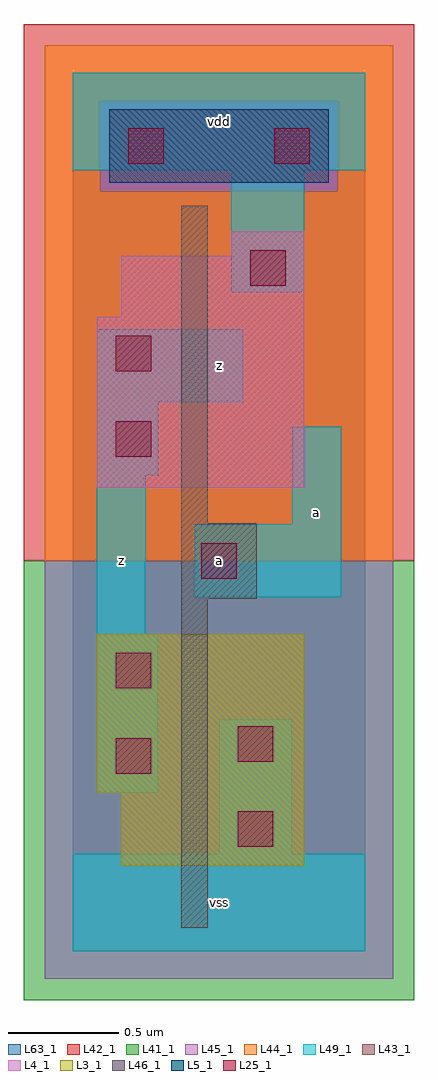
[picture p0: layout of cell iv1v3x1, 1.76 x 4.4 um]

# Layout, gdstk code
import gdstk
lib = gdstk.Library(unit=1e-6, precision=1e-09)
def R(c, l, rs):  # rectangles x0, y0, x1, y1
    for r in rs: c.add(gdstk.rectangle(r[:2], r[2:], *l))
L3_1 = (3, 1)
L4_1 = (4, 1)
L5_1 = (5, 1)
L25_1 = (25, 1)
L41_1 = (41, 1)
L42_1 = (42, 1)
L43_1 = (43, 1)
L44_1 = (44, 1)
L45_1 = (45, 1)
L46_1 = (46, 1)
L49_1 = (49, 1)
L63_1 = (63, 1)

iv1v3x1 = lib.new_cell('iv1v3x1')
R(iv1v3x1, L3_1, [(0.22,0.385,1.045,0.715), (0.11,0.715,1.045,1.43)])
R(iv1v3x1, L4_1, [(0.11,2.09,1.045,2.86), (0.22,2.86,1.045,3.135), (0.715,3.135,1.045,3.245)])
R(iv1v3x1, L5_1, [(0.165,3.465,1.155,3.795)])
R(iv1v3x1, L25_1, [(0.745,0.47,0.905,0.63), (0.195,0.8,0.355,0.96), (0.745,0.855,0.905,1.015), (0.195,1.185,0.355,1.345), (0.58,1.68,0.74,1.84), (0.195,2.23,0.355,2.39), (0.195,2.615,0.355,2.775), (0.8,3,0.96,3.16), (0.25,3.55,0.41,3.71), (0.91,3.55,1.07,3.71)])
R(iv1v3x1, L41_1, [(-0.22,-0.22,1.54,1.76)])
R(iv1v3x1, L42_1, [(-0.22,1.76,1.54,4.18)])
R(iv1v3x1, L43_1, [(0.22,0.385,1.045,0.715), (0.11,0.715,1.045,1.43), (0.11,2.09,1.045,2.86), (0.22,2.86,1.045,3.135), (0.715,3.135,1.045,3.245), (0.165,3.465,1.155,3.795)])
R(iv1v3x1, L44_1, [(-0.125,1.76,1.445,3.425), (-0.125,3.425,0.125,3.835), (1.195,3.425,1.445,3.835), (-0.125,3.835,1.445,4.085)])
R(iv1v3x1, L45_1, [(-0.125,-0.125,1.445,1.76), (0.125,3.425,1.195,3.835)])
R(iv1v3x1, L46_1, [(0.49,0.105,0.61,1.59), (0.49,1.59,0.83,1.93), (0.49,1.93,0.61,3.36)])
R(iv1v3x1, L49_1, [(0,0,1.32,0.44), (0.66,0.44,0.99,1.045), (0.11,0.715,0.385,1.43), (0.11,1.43,0.33,2.145), (0.55,1.595,1.21,1.925), (0.99,1.925,1.21,2.365), (0.11,2.145,0.385,2.475), (0.11,2.475,0.77,2.805), (0.715,2.97,1.045,3.52), (0,3.52,1.32,3.96)])
R(iv1v3x1, L63_1, [(0,0,1.32,3.96)])
iv1v3x1.add(gdstk.Label('z', (0.22,1.76), layer=49, texttype=1))
iv1v3x1.add(gdstk.Label('vss', (0.66,0.22), layer=49, texttype=1))
iv1v3x1.add(gdstk.Label('a', (0.66,1.76), layer=49, texttype=1))
iv1v3x1.add(gdstk.Label('z', (0.66,2.64), layer=49, texttype=1))
iv1v3x1.add(gdstk.Label('vdd', (0.66,3.74), layer=49, texttype=1))
iv1v3x1.add(gdstk.Label('a', (1.1,1.98), layer=49, texttype=1))

lib.write_gds('iv1v3x1.gds')
